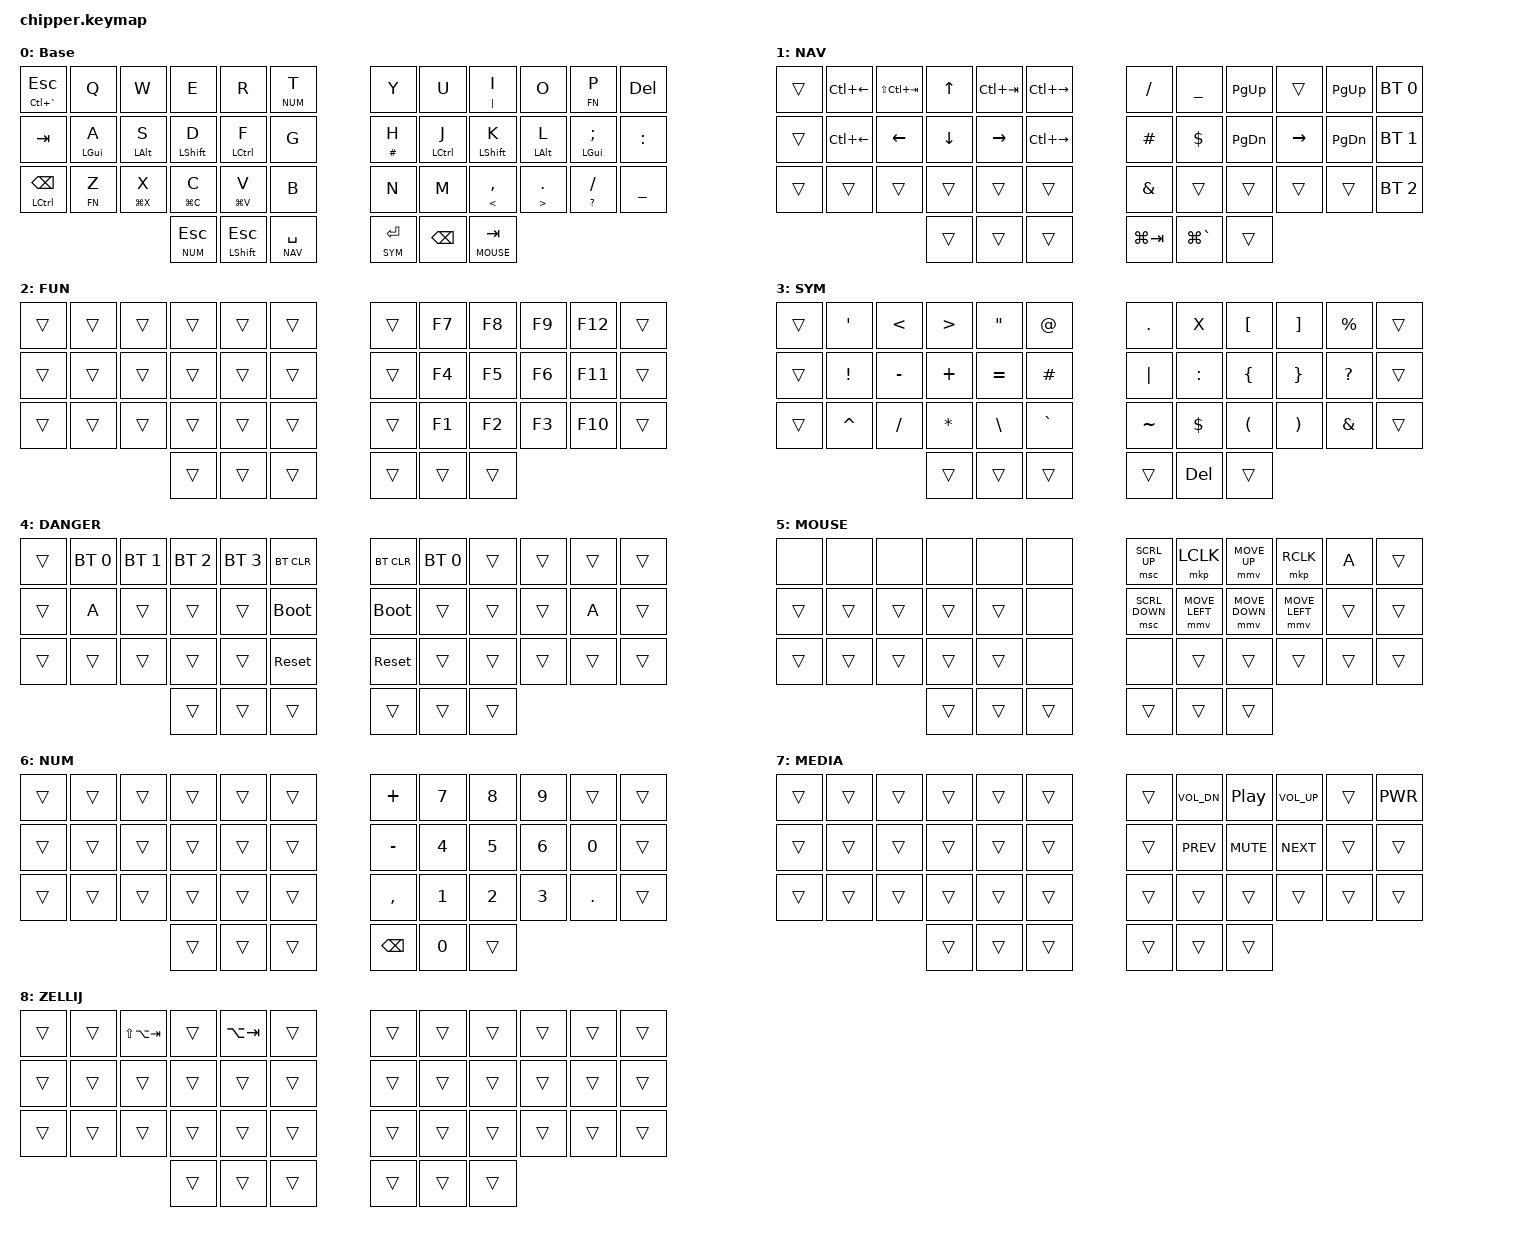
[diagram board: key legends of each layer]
#include <behaviors.dtsi>
#include <dt-bindings/zmk/keys.h>
#include <dt-bindings/zmk/bt.h>
#include <dt-bindings/zmk/outputs.h>
#include <dt-bindings/zmk/pointing.h>

#define XXX &none
#define ___ &trans

#define COMBO_TIMEOUT 60

#define DEF 0
#define NAV 1
#define FN 2
#define SYM 3
#define SYS 4
#define MOUSE 5
#define NUM 6
#define MEDIA 7
#define ZELLIJ 8

#define R_KEYS 0 1 2 3 4  5     12 13 14 15 16 17      24 25 26 27 28 29
#define L_KEYS 6 7 8 9 10 11    18 19 20 21 22 23      30 31 32 33 34 35
#define THUMBS 36 37 38 39 40 41

//  0  1  2  3  4  5  ||  6  7  8  9 10 11
//  12 13 14 15 16 17 || 18 19 20 21 22 23
//  24 25 26 27 28 29 || 30 31 32 33 34 35
//           36 37 38 || 39 40 41 
 



/ {
    macros {
	nayeon: nayeon {
            compatible = "zmk,behavior-macro";
            #binding-cells = <0>;
            bindings
                = <&macro_tap_time 10>
		,<&macro_tap &kp N &kp A &kp Y &kp E &kp O &kp N &kp RET>;
        };
    };
};

/ {
    combos {
        compatible = "zmk,combos";
	 combo_cw {
            timeout-ms = <COMBO_TIMEOUT>;
            key-positions = <6 30>;
            bindings = <&nayeon>;
       };

     combo_num_tab {
            timeout-ms = <COMBO_TIMEOUT>;
            key-positions = <4 16>;
            bindings = <&lt NUM TAB>;
        };

     combo_zel_layer {
            timeout-ms = <COMBO_TIMEOUT>;
            key-positions = <7 19>;
            bindings = <&mo ZELLIJ>;
        };
     combo_media_layer {
            timeout-ms = <COMBO_TIMEOUT>;
            key-positions = <5 17>;
            bindings = <&mo MEDIA>;
        };
   
    };
     
};

/ {
         bht: balanced_hold_taps {
            compatible = "zmk,behavior-hold-tap";
            #binding-cells = <2>;
            tapping-term-ms = <280>;    // <---[[moderate duration]]
            flavor = "balanced";
            bindings = <&kp>, <&kp>;
            quick-tap-ms = <175>;       // repeat on tap-into-hold
            require-prior-idle-ms = <150>;
        };

        hml: home_row_mod_left {
            compatible = "zmk,behavior-hold-tap";
            #binding-cells = <2>;
            flavor = "balanced";
            require-prior-idle-ms = <150>;
            tapping-term-ms = <280>;
            quick-tap-ms = <175>;
            bindings = <&kp>, <&kp>;
            hold-trigger-key-positions = <R_KEYS THUMBS>; // List of keys on the right side of the keyboard
            hold-trigger-on-release;
        };

        
        hmr: home_row_mod_right {
            compatible = "zmk,behavior-hold-tap";
            #binding-cells = <2>;
            flavor = "balanced";
            require-prior-idle-ms = <150>;
            tapping-term-ms = <280>;
            quick-tap-ms = <175>;
            bindings = <&kp>, <&kp>;
            hold-trigger-key-positions = <L_KEYS THUMBS>; // List of keys on the right side of the keyboard
            hold-trigger-on-release;
        };
        
    };
/ {
    conditional_layers {
        compatible = "zmk,conditional-layers";
        tri_layer {
            if-layers = <1 2>;
            then-layer = <4>;
        };
    };
};

/ {
        keymap {
                compatible = "zmk,keymap";

                DEF_layer {
                        display-name = "Base";
                        bindings = <
            //╭──────╮ ╭─────────────┬─────────────┬─────────────┬─────────────┬─────────────╮   ╭─────────────┬─────────────┬─────────────┬─────────────┬─────────────╮ ╭──────╮
    &bht LC(GRAVE) ESC        &kp Q         &kp W        &kp E         &kp R      &lt NUM T             &kp Y         &kp U       &bht PIPE I     &kp O         &lt FN P     &kp DEL
            //├──────┤ ├─────────────┼─────────────┼─────────────┼─────────────┼─────────────┤   ├─────────────┼─────────────┼──────|──────┼─────────────┼─────────────┤ ├──────┤
            &kp TAB      &hml LGUI A  &hml LALT  S  &hml LSHFT D  &hml LCTRL F     &kp G           &bht POUND H  &hmr LCTRL J   &hmr LSHFT K  &hmr LALT L  &hmr LGUI SEMI  &kp COLON
            //├──────┤ ├─────────────┼─────────────┼─────────────┼─────────────┼─────────────┤   ├──────#──────┼─────────────┼─────────────┼─────────────┼─────────────┤ ├──────┤
        &bht LCTRL BSPC    &lt FN Z    &bht LG(X) X   &bht LG(C) C &bht LG(V) V    &kp B              &kp N         &kp M     &bht LT COMMA   &bht GT DOT &bht QMARK FSLH &kp UNDER
            //├──────┤ ╰─────────────┼─────────────┴─────────────┼─────────────┼─────────────┤   ├─────────────┼─────────────┼─────────────┴───────────────────────────╯ ├──────┤
                                                    &lt NUM ESC    &bht LSHFT ESC  &lt NAV SPC       &lt SYM RET    &kp BSPC    &lt MOUSE TAB
             //                                    ╰────────────┼──────────────┴─────────────╯   ╰─────────────┴─────────────┼─────────────╯
                        >;                };

              

            NAV_layer {
                        display-name = "NAV";
                        bindings = <
//╭──────╮ ╭─────────────┬─────────────┬─────────────┬─────────────┬─────────────╮ ╭─────────────┬─────────────┬─────────────┬─────────────┬─────────────╮ ╭──────╮
    ___   &kp LC(LEFT)   &kp LS(LC(TAB)) &kp UP      &kp LC(TAB)    &kp LC(RIGHT)      &kp FSLH     &kp UNDER     &kp PAGE_UP        ___    &kp PG_UP        &bt BT_SEL 0  
//├──────┤ ├─────────────┼─────────────┼─────────────┼─────────────┼───toggle────┤ ├─────────────┼─────────────┼─────────────┼─────────────┼─────────────┤ ├──────┤
    ___      &kp LC(LEFT)   &kp LEFT      &kp DOWN      &kp RIGHT  &kp LC(RIGHT)      &kp HASH     &kp DLLR      &kp PAGE_DOWN  &kp RIGHT   &kp PG_DN      &bt BT_SEL 1
//├──────┤ ├─────────────┼─────────────┼─────────────┼─────────────┼─────────────┤ ├─────────────┼─────────────┼─────────────┼─────────────┼─────────────┤ ├──────┤
    ___      ___            ___           ___           ___            ___             &kp AMPS      ___           ___           ___           ___           &bt BT_SEL 2
//├──────┤ ╰─────────────┼─────────────┴─────────────┼─────────────┼─────────────┤ ├─────────────┼─────────────┼─────────────┴───────────────────────────╯ ├──────┤
                                          ___           ___            ___           &kp LG(TAB)  &kp LG(GRAVE)          ___
//                                      ╰────────────╰─────────────┴─────────────╯ ╰─────────────┴─────────────╯─────────────╯                                           
                        >;
                };
               
                FN_layer {
                        display-name = "FUN";
                        bindings = <
//╭──────╮ ╭─────────────┬─────────────┬─────────────┬─────────────┬─────────────╮ ╭─────────────┬─────────────┬─────────────┬─────────────┬─────────────╮ ╭──────╮
    ___        ___         ___           ___           ___          ___              ___            &kp F7        &kp F8        &kp F9         &kp F12       ___
//├──────┤ ├─────────────┼─────────────┼─────────────┼─────────────┼─────────────┤ ├─────────────┼─────────────┼─────────────┼─────────────┼─────────────┤ ├──────┤
    ___        ___         ___           ___           ___          ___              ___            &kp F4        &kp F5        &kp F6         &kp F11       ___
//├──────┤ ├─────────────┼─────────────┼─────────────┼─────────────┼─────────────┤ ├─────────────┼─────────────┼─────────────┼─────────────┼─────────────┤ ├──────┤
    ___        ___         ___           ___           ___          ___              ___            &kp F1        &kp F2        &kp F3         &kp F10       ___
//├──────┤ ╰─────────────┼─────────────┴─────────────┼─────────────┼─────────────┤ ├─────────────┼─────────────┼─────────────┴───────────────────────────╯ ├──────┤
                                               ___        ___           ___            ___           ___           ___                                       
//                                           ╰──────╯╰─────────────┴─────────────╯ ╰─────────────┴─────────────╯╰──────╯                                           
                        >;
		};
		
		        SYM_layer {
                        display-name = "SYM";
                        bindings = <
//╭──────╮ ╭─────────────┬─────────────┬─────────────┬─────────────┬─────────────╮ ╭──────────────┬──────────────┬─────────────┬─────────────┬─────────────╮ ╭──────╮
    ___     &kp SQT         &kp LT        &kp GT        &kp DQT        &kp AT         &kp DOT           &kp X      &kp LBKT      &kp RBKT      &kp PRCNT       ___
//├──────┤ ├─────────────┼─────────────┼─────────────┼─────────────┼─────────────┤ ├──────=!──────┼──────7+──────┼─────8-──────┼─────9_──────┼─────────────┤ ├──────┤
    ___     &kp EXCL       &kp MINUS      &kp PLUS      &kp EQUAL     &kp POUND          &kp PIPE     &kp COLON   &kp LBRC      &kp RBRC      &kp QMARK         ___
//├──────┤ ├─────────────┼─────────────┼─────────────┼─────────────┼─────────────┤ ├──────.#──────┼─────4*───────┼──────5/─────┼──────6\─────┼─────────────┤ ├──────┤
    ___     &kp CARET      &kp FSLH       &kp ASTRK     &kp BSLH      &kp GRAVE         &kp TILDE      &kp DLLR      &kp LPAR    &kp RPAR      &kp AMPS         ___
//├──────┤ ╰─────────────┼─────────────┴─────────────┼─────────────┼─────────────┤ ├──────0%──────┼──────1|──────┼─────2&──────┼──────3#──────┼─────────────╯ ╰──────╯
                                         ___           ___           ___             ___           &kp DEL        ___                                    
 //                                     ╰─────────────┴─────────────┴─────────────╯ ╰──────────────┴──────────────┼─────────────╯                                     
                        >;
		};

                        		SYS_layer {
                        display-name = "DANGER";
                        bindings = <
//╭──────╮ ╭─────────────┬─────────────┬─────────────┬─────────────┬─────────────╮ ╭─────────────┬─────────────┬─────────────┬─────────────┬─────────────╮ ╭──────╮
    ___    &bt BT_SEL 0   &bt BT_SEL 1  &bt BT_SEL 2  &bt BT_SEL 3   &bt BT_CLR       &bt BT_CLR    &bt BT_SEL 0  ___           ___           ___             ___
//├──────┤ ├─────────────┼─────────────┼─────────────┼─────────────┼─────────────┤ ├─────────────┼─────────────┼─────────────┼─────────────┼─────────────┤ ├──────┤
    ___     &kp A         ___           ___           ___            &bootloader      &bootloader   ___           ___           ___           &kp A           ___
//├──────┤ ├─────────────┼─────────────┼─────────────┼─────────────┼─────────────┤ ├─────────────┼─────────────┼─────────────┼─────────────┼─────────────┤ ├──────┤
    ___     ___           ___           ___           ___            &sys_reset       &sys_reset    ___           ___           ___           ___             ___
//├──────┤ ╰─────────────┼─────────────┴─────────────┼─────────────┼─────────────┤ ├─────────────┼─────────────┼─────────────┴───────────────────────────╯ ├──────┤
    ___                                                ___           ___              ___           ___                                                       ___
//╰──────╯                                           ╰─────────────┴─────────────╯ ╰─────────────┴─────────────╯                                           ╰──────╯
                        >;
		};


                                
                        		MOUSE_layer {
                        display-name = "MOUSE";
                        bindings = <
                        
//╭──────╮ ╭─────────────┬─────────────┬─────────────┬─────────────┬─────────────╮ ╭─────────────┬─────────────┬─────────────┬─────────────┬─────────────╮ ╭──────╮
    XXX         XXX           XXX           XXX            XXX           XXX        &msc SCRL_UP  &mkp LCLK    &mmv MOVE_UP   &mkp RCLK          &kp A        ___
//├──────┤ ├─────────────┼─────────────┼─────────────┼─────────────┼─────────────┤ ├─────────────┼─────────────┼─────────────┼─────────────┼─────────────┤ ├──────┤
    ___         ___           ___           ___            ___           XXX      &msc SCRL_DOWN &mmv MOVE_LEFT &mmv MOVE_DOWN &mmv MOVE_LEFT    ___          ___
//├──────┤ ├─────────────┼─────────────┼─────────────┼─────────────┼─────────────┤ ├─────────────┼─────────────┼─────────────┼─────────────┼─────────────┤ ├──────┤
    ___         ___           ___           ___            ___           XXX             XXX           ___           ___            ___          ___          ___
//├──────┤ ╰─────────────┼─────────────┴─────────────┼───────────u─┼─────────────┤ ├─────────────┼─────────────┼─────────────┴───────────────────────────╯ ├──────┤
    ___                                                    ___           ___             ___           ___                                                    ___
//╰──────╯                                           ╰─────────────┴─────────────╯ ╰─────────────┴─────────────╯                                           ╰──────╯
                        >;
		};




                NUM_layer {
                        display-name = "NUM";
                        bindings = <
//╭──────╮ ╭─────────────┬─────────────┬─────────────┬─────────────┬─────────────╮ ╭─────────────┬─────────────┬─────────────┬─────────────┬─────────────╮ ╭──────╮
    ___        ___         ___           ___           ___          ___              &kp PLUS          &kp N7        &kp N8        &kp N9         ___          ___
//├──────┤ ├─────────────┼─────────────┼─────────────┼─────────────┼─────────────┤ ├─────────────┼─────────────┼─────────────┼─────────────┼─────────────┤ ├──────┤
    ___        ___         ___           ___           ___          ___              &kp MINUS      &kp N4        &kp N5        &kp N6          &kp N0         ___
//├──────┤ ├─────────────┼─────────────┼─────────────┼─────────────┼─────────────┤ ├─────────────┼─────────────┼─────────────┼─────────────┼─────────────┤ ├──────┤
    ___        ___         ___           ___           ___          ___              &kp COMMA       &kp N1        &kp N2        &kp N3         &kp DOT        ___
//├──────┤ ╰─────────────┼─────────────┴─────────────┼─────────────┼─────────────┤ ├─────────────┼─────────────┼─────────────┴───────────────────────────╯ ├──────┤
                                               ___        ___           ___            &kp BSPC     &kp N0        ___                                       
//                                           ╰──────╯╰─────────────┴─────────────╯ ╰─────────────┴─────────────╯╰──────╯                                           
                        >;
	};
       
                MEDIA_layer {
                        display-name = "MEDIA";
                        bindings = <
//╭──────╮ ╭─────────────┬─────────────┬─────────────┬─────────────┬─────────────╮ ╭─────────────┬─────────────┬─────────────┬─────────────┬─────────────╮ ╭──────╮
    ___        ___         ___           ___           ___          ___              ___        &kp K_VOL_DN     &kp C_PP   &kp K_VOL_UP      ___          &kp K_PWR
//├──────┤ ├─────────────┼─────────────┼─────────────┼─────────────┼─────────────┤ ├─────────────┼─────────────┼─────────────┼─────────────┼─────────────┤ ├──────┤
    ___        ___         ___           ___           ___          ___              ___            &kp K_PREV     &kp K_MUTE   &kp K_NEXT      ___          ___
//├──────┤ ├─────────────┼─────────────┼─────────────┼─────────────┼─────────────┤ ├─────────────┼─────────────┼─────────────┼─────────────┼─────────────┤ ├──────┤
    ___        ___         ___           ___           ___          ___              ___               ___          ___          ___            ___          ___
//├──────┤ ╰─────────────┼─────────────┴─────────────┼─────────────┼─────────────┤ ├─────────────┼─────────────┼─────────────┴───────────────────────────╯ ├──────┤
                                               ___        ___           ___            ___           ___           ___                                       
//                                           ╰──────╯╰─────────────┴─────────────╯ ╰─────────────┴─────────────╯╰──────╯                                           
                        >;
	};

        
                ZELLIJ_layer {
                        display-name = "ZELLIJ";
                        bindings = <
//╭──────╮ ╭─────────────┬─────────────┬─────────────┬─────────────┬─────────────╮ ╭─────────────┬─────────────┬─────────────┬─────────────┬─────────────╮ ╭──────╮
    ___        ___      &kp LS(LA(TAB))  ___           &kp LA(TAB)    ___              ___            ___           ___           ___           ___          ___
//├──────┤ ├─────────────┼─────────────┼─────────────┼─────────────┼─────────────┤ ├─────────────┼─────────────┼─────────────┼─────────────┼─────────────┤ ├──────┤
    ___        ___         ___           ___           ___          ___              ___            ___           ___            ___          ___          ___
//├──────┤ ├─────────────┼─────────────┼─────────────┼─────────────┼─────────────┤ ├─────────────┼─────────────┼─────────────┼─────────────┼─────────────┤ ├──────┤
    ___        ___         ___           ___           ___          ___              ___               ___          ___          ___            ___          ___
//├──────┤ ╰─────────────┼─────────────┴─────────────┼─────────────┼─────────────┤ ├─────────────┼─────────────┼─────────────┴───────────────────────────╯ ├──────┤
                                               ___        ___           ___            ___           ___           ___                                       
//                                           ╰──────╯╰─────────────┴─────────────╯ ╰─────────────┴─────────────╯╰──────╯                                           
                        >;
	};

        };
};
